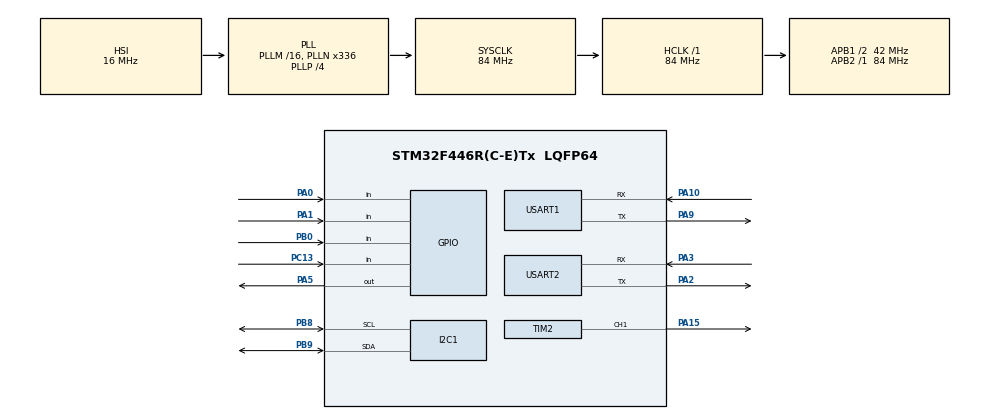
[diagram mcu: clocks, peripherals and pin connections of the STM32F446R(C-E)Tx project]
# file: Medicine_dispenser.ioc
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Mcu.Family=STM32F4
Mcu.Name=STM32F446R(C-E)Tx
Mcu.Package=LQFP64
NVIC.PriorityGroup=NVIC_PRIORITYGROUP_0
PA0-WKUP.GPIO_PuPd=GPIO_PULLUP
PA0-WKUP.Signal=GPIO_Input
PA1.GPIO_PuPd=GPIO_PULLUP
PA1.Signal=GPIO_Input
PA10.Mode=Asynchronous
PA10.Signal=USART1_RX
PA13.Mode=Serial_Wire
PA13.Signal=SYS_JTMS-SWDIO
PA14.Mode=Serial_Wire
PA14.Signal=SYS_JTCK-SWCLK
PA15.Signal=S_TIM2_CH1_ETR
PA2.Mode=Asynchronous
PA2.Signal=USART2_TX
PA3.Mode=Asynchronous
PA3.Signal=USART2_RX
PA5.Signal=GPIO_Output
PA9.Mode=Asynchronous
PA9.Signal=USART1_TX
PB0.GPIO_PuPd=GPIO_PULLUP
PB0.Signal=GPIO_Input
PB8.Mode=I2C
PB8.Signal=I2C1_SCL
PB9.Mode=I2C
PB9.Signal=I2C1_SDA
PC13.Signal=GPIO_Input
PH0-OSC_IN.Mode=HSE-External-Oscillator
PH0-OSC_IN.Signal=RCC_OSC_IN
PH1-OSC_OUT.Mode=HSE-External-Oscillator
PH1-OSC_OUT.Signal=RCC_OSC_OUT
ProjectManager.HeapSize=0x200
ProjectManager.StackSize=0x400
ProjectManager.TargetToolchain=STM32CubeIDE
RCC.48MHZClocksFreq_Value=84000000
RCC.AHBFreq_Value=84000000
RCC.APB1CLKDivider=RCC_HCLK_DIV2
RCC.APB1Freq_Value=42000000
RCC.APB1TimFreq_Value=84000000
RCC.APB2Freq_Value=84000000
RCC.APB2TimFreq_Value=84000000
RCC.CortexFreq_Value=84000000
RCC.FLatency-AdvancedSettings=FLASH_LATENCY_2
RCC.HCLKFreq_Value=84000000
RCC.HSE_VALUE=8000000
RCC.HSI_VALUE=16000000
RCC.PLLN=336
RCC.PLLP=RCC_PLLP_DIV4
RCC.SYSCLKFreq_VALUE=84000000
RCC.SYSCLKSource=RCC_SYSCLKSOURCE_PLLCLK
RCC.USBFreq_Value=168000000
RCC.VCOOutputFreq_Value=336000000
RTC.Date=6
RTC.Format=RTC_FORMAT_BIN
RTC.Hours=1
RTC.Minutes=2
RTC.Month=RTC_MONTH_JUNE
RTC.Seconds=35
RTC.WeekDay=RTC_WEEKDAY_SATURDAY
RTC.Year=26
SH.S_TIM2_CH1_ETR.0=TIM2_CH1,PWM Generation1 CH1
TIM2.Channel-PWM\ Generation1\ CH1=TIM_CHANNEL_1
TIM2.Period=8400-1
TIM2.Prescaler=200-1
USART1.VirtualMode=VM_ASYNC
USART2.VirtualMode=VM_ASYNC
VP_RTC_VS_RTC_Activate.Mode=RTC_Enabled
VP_RTC_VS_RTC_Calendar.Mode=RTC_Calendar
VP_TIM2_VS_ClockSourceINT.Mode=Internal
board=NUCLEO-F446RE

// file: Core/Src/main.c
/* USER CODE BEGIN Header */
/**
  ******************************************************************************
  * @file           : main.c
  * @brief          : Main program body
  ******************************************************************************
  * @attention
  *
  * Copyright (c) 2026 STMicroelectronics.
  * All rights reserved.
  *
  * This software is licensed under terms that can be found in the LICENSE file
  * in the root directory of this software component.
  * If no LICENSE file comes with this software, it is provided AS-IS.
  *
  ******************************************************************************
  */
/* USER CODE END Header */
#include "main.h"

/* USER CODE BEGIN Includes */
#include "liquidcrystal_i2c.h"
#include "stdio.h"
#include "string.h"
/* USER CODE END Includes */

I2C_HandleTypeDef hi2c1;

RTC_HandleTypeDef hrtc;

TIM_HandleTypeDef htim2;

UART_HandleTypeDef huart1;
UART_HandleTypeDef huart2;

/* USER CODE BEGIN PV */
char msg[100];
char lcdmsg1[100];
char lcdmsg2[100];

uint8_t b1;
uint8_t b2;
int hours=0;
int minutes=0;
int c=0;
int c1=0;

/* USER CODE END PV */

void SystemClock_Config(void);
static void MX_GPIO_Init(void);
static void MX_I2C1_Init(void);
static void MX_USART1_UART_Init(void);
static void MX_USART2_UART_Init(void);
static void MX_RTC_Init(void);
static void MX_TIM2_Init(void);

int main(void)
{

  /* MCU Configuration--------------------------------------------------------*/

  /* Reset of all peripherals, Initializes the Flash interface and the Systick. */
  HAL_Init();

  /* Configure the system clock */
  SystemClock_Config();

  /* Initialize all configured peripherals */
  MX_GPIO_Init();
  MX_I2C1_Init();
  MX_USART1_UART_Init();
  MX_USART2_UART_Init();
  MX_RTC_Init();
  MX_TIM2_Init();
  /* USER CODE BEGIN 2 */
  __HAL_TIM_SET_COMPARE(&htim2,TIM_CHANNEL_1,210);
	RTC_TimeTypeDef sTime;
	RTC_DateTypeDef sDate;

    HD44780_Init(2);
	HD44780_Clear();
	HD44780_Backlight();
	HD44780_SetCursor(3, 0);
	HD44780_PrintStr("Welcome To");
	HD44780_SetCursor(0, 1);
	HD44780_PrintStr("Iot_Lab_Projects");

	HAL_TIM_PWM_Start(&htim2, TIM_CHANNEL_1);
  /* USER CODE END 2 */

  /* Infinite loop */
  while (1)
  {

    /* USER CODE BEGIN 3 */
	  //HAL_Delay(1000);
	  if(c==0)
	  {
		  HAL_RTC_GetTime(&hrtc, &sTime, RTC_FORMAT_BIN);
			HAL_RTC_GetDate(&hrtc, &sDate, RTC_FORMAT_BIN);

			snprintf(lcdmsg1, sizeof(lcdmsg1), "Time: %02d:%02d:%02d ",
					sTime.Hours, sTime.Minutes, sTime.Seconds);
			snprintf(lcdmsg2, sizeof(lcdmsg2), "Date: %02d/%02d/%02d \r\n",
					sDate.Date, sDate.Month, sDate.Year + 2000);

			HD44780_SetCursor(0, 0);
			HD44780_PrintStr(lcdmsg1);
			HD44780_SetCursor(0, 1);
			HD44780_PrintStr(lcdmsg2);
			c1=0;
	  }
	  b1=HAL_GPIO_ReadPin(GPIOA, GPIO_PIN_1);
	  b2=HAL_GPIO_ReadPin(GPIOA, GPIO_PIN_0);
	  HAL_UART_Transmit(&huart2, (uint8_t*)&b2, sizeof(b2), HAL_MAX_DELAY);

	  if(c1==1)
	  {
		  HAL_RTC_GetTime(&hrtc, &sTime, RTC_FORMAT_BIN);
		  	  HAL_RTC_GetDate(&hrtc, &sDate, RTC_FORMAT_BIN);

		  	  snprintf(lcdmsg1, sizeof(lcdmsg1), "Live : %02d:%02d:%02d ",
		  	  					sTime.Hours, sTime.Minutes, sTime.Seconds);
		  	  HD44780_SetCursor(0, 0);
		  	  HD44780_PrintStr(lcdmsg1);
		  	  c=1;
	  }

	  if(b1==0)
	  {
		  HAL_UART_Transmit(&huart2,( uint8_t* )"hours button pressed", sizeof("hours button pressed"), HAL_MAX_DELAY);
		  HD44780_Clear();

		  HAL_RTC_GetTime(&hrtc, &sTime, RTC_FORMAT_BIN);
			HAL_RTC_GetDate(&hrtc, &sDate, RTC_FORMAT_BIN);

			snprintf(lcdmsg1, sizeof(lcdmsg1), "Live : %02d:%02d:%02d ",
					sTime.Hours, sTime.Minutes, sTime.Seconds);
			HD44780_SetCursor(0, 0);
			HD44780_PrintStr(lcdmsg1);

		  HAL_GPIO_WritePin(GPIOA, GPIO_PIN_5,1);

		  //HD44780_SetCursor(0, 0);
		  //HD44780_PrintStr("Set Time");

		  hours=hours+1;
			if (hours >= 12)
			{
				hours = 0;
			}
			HD44780_SetCursor(0, 1);
		  snprintf(msg,sizeof(msg),"Alarm: %02d:%02d:%02d",hours,minutes,00);
		  HAL_UART_Transmit(&huart2,( uint8_t* )msg, sizeof(msg), HAL_MAX_DELAY);
		  HD44780_PrintStr(msg);
		  c=1;
		  c1=1;
		  HAL_Delay(200);

	  }
	  else if(b2==0)
	  {
		  HAL_UART_Transmit(&huart2,( uint8_t* )"minutes button pressed", sizeof("minutes button pressed"), HAL_MAX_DELAY);

		  HD44780_Clear();

			HAL_RTC_GetTime(&hrtc, &sTime, RTC_FORMAT_BIN);
			HAL_RTC_GetDate(&hrtc, &sDate, RTC_FORMAT_BIN);

			snprintf(lcdmsg1, sizeof(lcdmsg1), "Live : %02d:%02d:%02d ",
					sTime.Hours, sTime.Minutes, sTime.Seconds);
			HD44780_SetCursor(0, 0);
			HD44780_PrintStr(lcdmsg1);

		  HAL_GPIO_WritePin(GPIOA, GPIO_PIN_5,1);

			minutes = minutes + 1;
			if (minutes >= 60)
			{
				minutes = 0;
			}
			HD44780_SetCursor(0, 1);
			snprintf(msg, sizeof(msg), "Alarm: %02d:%02d:%02d", hours, minutes,00);
			HAL_UART_Transmit(&huart2, (uint8_t*)&b2, sizeof(b2), HAL_MAX_DELAY);
			//HAL_UART_Transmit(&huart2, msg, sizeof(msg), HAL_MAX_DELAY);
			HD44780_PrintStr(msg);
			c=1;
			c1=1;
			HAL_Delay(200);

	  }
	  else if(HAL_GPIO_ReadPin(GPIOB, GPIO_PIN_0)==1)
	  {
		  HD44780_Clear();
		  HD44780_SetCursor(0, 1);
		  HD44780_PrintStr("Alarm: SET");
		  HAL_UART_Transmit(&huart2,( uint8_t* )"set button pressed\n", sizeof("set button pressed\n"), HAL_MAX_DELAY);
		  while(1){
			  HAL_RTC_GetTime(&hrtc, &sTime, RTC_FORMAT_BIN);
				HAL_RTC_GetDate(&hrtc, &sDate, RTC_FORMAT_BIN);

				snprintf(lcdmsg1, sizeof(lcdmsg1), "Live : %02d:%02d:%02d ",
						sTime.Hours, sTime.Minutes, sTime.Seconds);
				HD44780_SetCursor(0, 0);
				HD44780_PrintStr(lcdmsg1);
				if (sTime.Hours == hours && sTime.Minutes == minutes
						&& sTime.Seconds == 00) {

					HAL_GPIO_WritePin(GPIOA, GPIO_PIN_5, 1);
					HAL_Delay(2);
					__HAL_TIM_SET_COMPARE(&htim2,TIM_CHANNEL_1,462);
					//HAL_Delay(2);
					//GSM_SendSMS("+918220695978", "Pill Dispensed");
					GSM_MakeCall("+918220695978");// enable this to send SMS
					HAL_Delay(500);

				}
		  }

	  }

	  else
	  {
		  HAL_GPIO_WritePin(GPIOA, GPIO_PIN_5,0);
		  //c=1;

	  }

		/*HAL_RTC_GetTime(&hrtc, &sTime, RTC_FORMAT_BIN);
		HAL_RTC_GetDate(&hrtc, &sDate, RTC_FORMAT_BIN);

		snprintf(lcdmsg1, sizeof(lcdmsg1),
				"Time: %02d:%02d:%02d ",
				sTime.Hours, sTime.Minutes, sTime.Seconds);
		snprintf(lcdmsg2, sizeof(lcdmsg2),
				"Date: %02d/%02d/%02d \r\n",
				sDate.Date,sDate.Month, sDate.Year+2000);

		HD44780_SetCursor(0, 0);
		HD44780_PrintStr(lcdmsg1);
		HD44780_SetCursor(0, 1);
		HD44780_PrintStr(lcdmsg2);*/

		//b1=HAL_GPIO_ReadPin(GPIOC, GPIO_PIN_13);
		//b2=HAL_GPIO_ReadPin(GPIOC, GPIO_PIN_14);

  }
  /* USER CODE END 3 */
}

void SystemClock_Config(void)
{
  RCC_OscInitTypeDef RCC_OscInitStruct = {0};
  RCC_ClkInitTypeDef RCC_ClkInitStruct = {0};

  /** Configure the main internal regulator output voltage
  */
  __HAL_RCC_PWR_CLK_ENABLE();
  __HAL_PWR_VOLTAGESCALING_CONFIG(PWR_REGULATOR_VOLTAGE_SCALE3);

  /** Initializes the RCC Oscillators according to the specified parameters
  * in the RCC_OscInitTypeDef structure.
  */
  RCC_OscInitStruct.OscillatorType = RCC_OSCILLATORTYPE_HSI|RCC_OSCILLATORTYPE_LSI;
  RCC_OscInitStruct.LSEState = RCC_LSE_OFF;
  RCC_OscInitStruct.HSIState = RCC_HSI_ON;
  RCC_OscInitStruct.HSICalibrationValue = RCC_HSICALIBRATION_DEFAULT;
  RCC_OscInitStruct.LSIState = RCC_LSI_ON;
  RCC_OscInitStruct.PLL.PLLState = RCC_PLL_ON;
  RCC_OscInitStruct.PLL.PLLSource = RCC_PLLSOURCE_HSI;
  RCC_OscInitStruct.PLL.PLLM = 16;
  RCC_OscInitStruct.PLL.PLLN = 336;
  RCC_OscInitStruct.PLL.PLLP = RCC_PLLP_DIV4;
  RCC_OscInitStruct.PLL.PLLQ = 2;
  RCC_OscInitStruct.PLL.PLLR = 2;
  if (HAL_RCC_OscConfig(&RCC_OscInitStruct) != HAL_OK)
  {
    Error_Handler();
  }

  /** Initializes the CPU, AHB and APB buses clocks
  */
  RCC_ClkInitStruct.ClockType = RCC_CLOCKTYPE_HCLK|RCC_CLOCKTYPE_SYSCLK
                              |RCC_CLOCKTYPE_PCLK1|RCC_CLOCKTYPE_PCLK2;
  RCC_ClkInitStruct.SYSCLKSource = RCC_SYSCLKSOURCE_PLLCLK;
  RCC_ClkInitStruct.AHBCLKDivider = RCC_SYSCLK_DIV1;
  RCC_ClkInitStruct.APB1CLKDivider = RCC_HCLK_DIV2;
  RCC_ClkInitStruct.APB2CLKDivider = RCC_HCLK_DIV1;

  if (HAL_RCC_ClockConfig(&RCC_ClkInitStruct, FLASH_LATENCY_2) != HAL_OK)
  {
    Error_Handler();
  }
}

static void MX_I2C1_Init(void)
{

  hi2c1.Instance = I2C1;
  hi2c1.Init.ClockSpeed = 100000;
  hi2c1.Init.DutyCycle = I2C_DUTYCYCLE_2;
  hi2c1.Init.OwnAddress1 = 0;
  hi2c1.Init.AddressingMode = I2C_ADDRESSINGMODE_7BIT;
  hi2c1.Init.DualAddressMode = I2C_DUALADDRESS_DISABLE;
  hi2c1.Init.OwnAddress2 = 0;
  hi2c1.Init.GeneralCallMode = I2C_GENERALCALL_DISABLE;
  hi2c1.Init.NoStretchMode = I2C_NOSTRETCH_DISABLE;
  if (HAL_I2C_Init(&hi2c1) != HAL_OK)
  {
    Error_Handler();
  }

}

static void MX_RTC_Init(void)
{

  RTC_TimeTypeDef sTime = {0};
  RTC_DateTypeDef sDate = {0};

  /** Initialize RTC Only
  */
  hrtc.Instance = RTC;
  hrtc.Init.HourFormat = RTC_HOURFORMAT_24;
  hrtc.Init.AsynchPrediv = 127;
  hrtc.Init.SynchPrediv = 255;
  hrtc.Init.OutPut = RTC_OUTPUT_DISABLE;
  hrtc.Init.OutPutPolarity = RTC_OUTPUT_POLARITY_HIGH;
  hrtc.Init.OutPutType = RTC_OUTPUT_TYPE_OPENDRAIN;
  if (HAL_RTC_Init(&hrtc) != HAL_OK)
  {
    Error_Handler();
  }

  /** Initialize RTC and set the Time and Date
  */
  sTime.Hours = 1;
  sTime.Minutes = 2;
  sTime.Seconds = 35;
  sTime.DayLightSaving = RTC_DAYLIGHTSAVING_NONE;
  sTime.StoreOperation = RTC_STOREOPERATION_RESET;
  if (HAL_RTC_SetTime(&hrtc, &sTime, RTC_FORMAT_BIN) != HAL_OK)
  {
    Error_Handler();
  }
  sDate.WeekDay = RTC_WEEKDAY_SATURDAY;
  sDate.Month = RTC_MONTH_JUNE;
  sDate.Date = 6;
  sDate.Year = 26;

  if (HAL_RTC_SetDate(&hrtc, &sDate, RTC_FORMAT_BIN) != HAL_OK)
  {
    Error_Handler();
  }

}

static void MX_TIM2_Init(void)
{

  TIM_ClockConfigTypeDef sClockSourceConfig = {0};
  TIM_MasterConfigTypeDef sMasterConfig = {0};
  TIM_OC_InitTypeDef sConfigOC = {0};

  htim2.Instance = TIM2;
  htim2.Init.Prescaler = 200-1;
  htim2.Init.CounterMode = TIM_COUNTERMODE_UP;
  htim2.Init.Period = 8400-1;
  htim2.Init.ClockDivision = TIM_CLOCKDIVISION_DIV1;
  htim2.Init.AutoReloadPreload = TIM_AUTORELOAD_PRELOAD_DISABLE;
  if (HAL_TIM_Base_Init(&htim2) != HAL_OK)
  {
    Error_Handler();
  }
  sClockSourceConfig.ClockSource = TIM_CLOCKSOURCE_INTERNAL;
  if (HAL_TIM_ConfigClockSource(&htim2, &sClockSourceConfig) != HAL_OK)
  {
    Error_Handler();
  }
  if (HAL_TIM_PWM_Init(&htim2) != HAL_OK)
  {
    Error_Handler();
  }
  sMasterConfig.MasterOutputTrigger = TIM_TRGO_RESET;
  sMasterConfig.MasterSlaveMode = TIM_MASTERSLAVEMODE_DISABLE;
  if (HAL_TIMEx_MasterConfigSynchronization(&htim2, &sMasterConfig) != HAL_OK)
  {
    Error_Handler();
  }
  sConfigOC.OCMode = TIM_OCMODE_PWM1;
  sConfigOC.Pulse = 0;
  sConfigOC.OCPolarity = TIM_OCPOLARITY_HIGH;
  sConfigOC.OCFastMode = TIM_OCFAST_DISABLE;
  if (HAL_TIM_PWM_ConfigChannel(&htim2, &sConfigOC, TIM_CHANNEL_1) != HAL_OK)
  {
    Error_Handler();
  }
  HAL_TIM_MspPostInit(&htim2);

}

static void MX_USART1_UART_Init(void)
{

  huart1.Instance = USART1;
  huart1.Init.BaudRate = 115200;
  huart1.Init.WordLength = UART_WORDLENGTH_8B;
  huart1.Init.StopBits = UART_STOPBITS_1;
  huart1.Init.Parity = UART_PARITY_NONE;
  huart1.Init.Mode = UART_MODE_TX_RX;
  huart1.Init.HwFlowCtl = UART_HWCONTROL_NONE;
  huart1.Init.OverSampling = UART_OVERSAMPLING_16;
  if (HAL_UART_Init(&huart1) != HAL_OK)
  {
    Error_Handler();
  }

}

static void MX_USART2_UART_Init(void)
{

  huart2.Instance = USART2;
  huart2.Init.BaudRate = 115200;
  huart2.Init.WordLength = UART_WORDLENGTH_8B;
  huart2.Init.StopBits = UART_STOPBITS_1;
  huart2.Init.Parity = UART_PARITY_NONE;
  huart2.Init.Mode = UART_MODE_TX_RX;
  huart2.Init.HwFlowCtl = UART_HWCONTROL_NONE;
  huart2.Init.OverSampling = UART_OVERSAMPLING_16;
  if (HAL_UART_Init(&huart2) != HAL_OK)
  {
    Error_Handler();
  }

}

static void MX_GPIO_Init(void)
{
  GPIO_InitTypeDef GPIO_InitStruct = {0};

  /* GPIO Ports Clock Enable */
  __HAL_RCC_GPIOC_CLK_ENABLE();
  __HAL_RCC_GPIOH_CLK_ENABLE();
  __HAL_RCC_GPIOA_CLK_ENABLE();
  __HAL_RCC_GPIOB_CLK_ENABLE();

  /*Configure GPIO pin Output Level */
  HAL_GPIO_WritePin(GPIOA, GPIO_PIN_5, GPIO_PIN_RESET);

  /*Configure GPIO pin : PC13 */
  GPIO_InitStruct.Pin = GPIO_PIN_13;
  GPIO_InitStruct.Mode = GPIO_MODE_INPUT;
  GPIO_InitStruct.Pull = GPIO_NOPULL;
  HAL_GPIO_Init(GPIOC, &GPIO_InitStruct);

  /*Configure GPIO pins : PA0 PA1 */
  GPIO_InitStruct.Pin = GPIO_PIN_0|GPIO_PIN_1;
  GPIO_InitStruct.Mode = GPIO_MODE_INPUT;
  GPIO_InitStruct.Pull = GPIO_PULLUP;
  HAL_GPIO_Init(GPIOA, &GPIO_InitStruct);

  /*Configure GPIO pin : PA5 */
  GPIO_InitStruct.Pin = GPIO_PIN_5;
  GPIO_InitStruct.Mode = GPIO_MODE_OUTPUT_PP;
  GPIO_InitStruct.Pull = GPIO_NOPULL;
  GPIO_InitStruct.Speed = GPIO_SPEED_FREQ_LOW;
  HAL_GPIO_Init(GPIOA, &GPIO_InitStruct);

  /*Configure GPIO pin : PB0 */
  GPIO_InitStruct.Pin = GPIO_PIN_0;
  GPIO_InitStruct.Mode = GPIO_MODE_INPUT;
  GPIO_InitStruct.Pull = GPIO_PULLUP;
  HAL_GPIO_Init(GPIOB, &GPIO_InitStruct);

}

/* USER CODE BEGIN 4 */
void GSM_SendSMS(char *number, char *message) {
	char cmd[50];

	HAL_UART_Transmit(&huart1, (uint8_t*) "AT+CMGF=1\r\n",
			strlen("AT+CMGF=1\r\n"), 1000);
	HAL_Delay(1000);
	sprintf(cmd, "AT+CMGS=\"%s\"\r\n", number);
	HAL_UART_Transmit(&huart1, (uint8_t*) cmd, strlen(cmd), 1000);
	HAL_Delay(1000);
	HAL_UART_Transmit(&huart1, (uint8_t*) message, strlen(message), 1000);
	HAL_Delay(500);

	uint8_t ctrlZ = 26;

	HAL_UART_Transmit(&huart1, &ctrlZ, 1, 1000);
}

void GSM_MakeCall(char *number) {
	char cmd[50];

	sprintf(cmd, "ATD%s;\r\n", number);

	HAL_UART_Transmit(&huart1, (uint8_t*) cmd, strlen(cmd), 1000);
}

void GSM_HangUp(void) {
	HAL_UART_Transmit(&huart1, (uint8_t*) "ATH\r\n", strlen("ATH\r\n"), 1000);
}
/* USER CODE END 4 */

void Error_Handler(void)
{
  __disable_irq();
  while (1)
  {
  }
}
